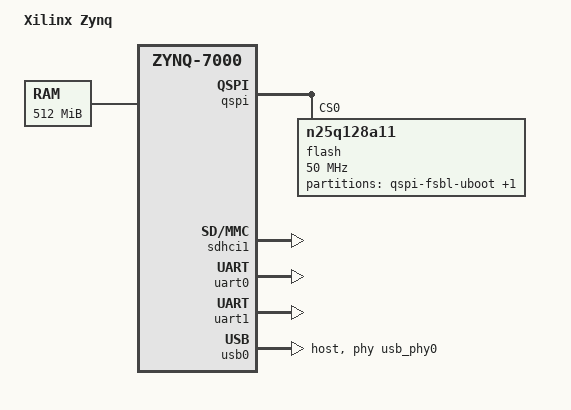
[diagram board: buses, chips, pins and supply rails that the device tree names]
/*
octopuz.dts
*/

/dts-v1/;
/include/ "zynq-7000.dtsi"

/ {
	#address-cells = <0x1>;
	#size-cells = <0x1>;
	compatible = "xlnx,zynq-7000";
	model = "Xilinx Zynq";

	chosen {
		bootargs = "console=ttyPS0,115200";
		linux,stdout-path = "serial0:115200n8";
	};

	aliases {
		serial0 = &uart1;
		serial1 = &uart0;
		spi0 = &qspi;
///		spi1 = &spi1";
		mmc0 =&sdhci1;
	};


	memory {
		device_type = "memory";
		reg = <0x0 0x20000000>;
	};

	usb_phy0: phy0 {
		compatible = "ulpi-phy";
		#phy-cells = <0>;
		reg = <0xe0002000 0x1000>;
		view-port = <0x0170>;
		drv-vbus;
	};
	amba_pl {
		#address-cells = <0x1>;
		#size-cells = <0x1>;
		compatible = "simple-bus";
		linux,phandle = <0x2a>;
		phandle = <0x2a>;
		ranges;

		axi_udef@43c00000 {
			#udef-cells = <0x1>;
			compatible = "vlg,axi-udef-1.0";
			interrupt-parent = <0x3>;
			interrupts = <0x0 0x1d 0x4>;
			reg = <0x43c00000 0x10000>;
		};
	};

};

&clkc {
	ps-clk-frequency = <33333333>;
};
&qspi {
	status = "okay";
	is-dual = <0>;
	num-cs = <1>;
	flash@0 {
		compatible = "n25q128a11";
		reg = <0x0>;
		spi-tx-bus-width = <1>;
		spi-rx-bus-width = <4>;
		spi-max-frequency = <50000000>;
		#address-cells = <1>;
		#size-cells = <1>;
		partition@qspi-fsbl-uboot {
			label = "qspi-fsbl-uboot";
			reg = <0x0 0x100000>;
		};
		partition@qspi-bitstream {
			label = "qspi-bitstream";
			reg = <0xC00000 0x400000>;
		};
	};
};
&sdhci1 {
	status = "okay";
};

&uart0 {
	status = "okay";
};
&uart1 {
	status = "okay";
};
&usb0 {
	status = "okay";
	dr_mode = "host";
	usb-phy = <&usb_phy0>;
};

///};


